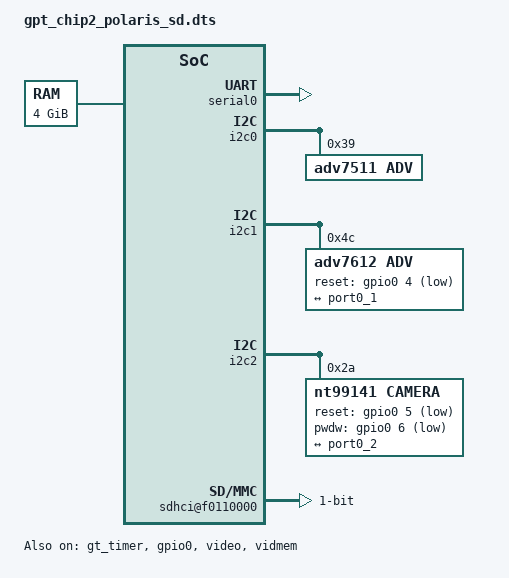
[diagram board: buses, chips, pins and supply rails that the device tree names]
/*
 * dts file for GPT Chip2
 *
 * Copyright (C) 2018, General Processor Techologies Inc.
 *
 * This program is free software; you can redistribute it and/or
 * modify it under the terms of the GNU General Public License as
 * published by the Free Software Foundation; either version 2 of
 * the License, or (at your option) any later version.
 */
 
/dts-v1/;
#include <dt-bindings/interrupt-controller/irq.h>
/include/ "gpt_chip2.dtsi"
#include <dt-bindings/clock/gpt,chip2polaris-clock.h>

/ {
	compatible = "gpt,polaris","gpt,polaris";
	#address-cells = <2>;
	#size-cells = <2>;
	interrupt-parent = <&pic>;

	chosen {
//		bootargs = "earlycon=pl011,mmio,0xF0010000 console=ttyAMA0,115200n8 init=/linuxrc";
		bootargs = "earlycon=pl011,mmio,0xF0010000 root=/dev/mmcblk0p1 rw console=ttyAMA0,115200n8 init=/linuxrc rootwait";
//		bootargs = "root=/dev/mmcblk0p3  rw console=ttyAMA0,115200n8 init=/linuxrc rootwait";
//		bootargs = "console=ttyAMA0,115200n8 init=/linuxrc";
	};

	memory@0 {
		device_type = "memory";
	    	reg = <0x2 0x00000000 0x1 0x00000000>;
	};

        reserved-memory {
                #address-cells = <2>;
                #size-cells = <2>;
                ranges;

                smpboot@200000000 {
                        reg = <0x2 0x00000000 0 0x8000>;
                        no-map;
                };
                debugport@200008000 {
                        reg = <0x2 0x00008000 0 0x8000>;
                        no-map;
                };
		cma {
				compatible = "shared-dma-pool";
				reusable;
				reg = <2 0x20000000 0 0x2000000>;
				linux,cma-default;
			};
		};

	serial0: serial@F0010000 {
		compatible = "gpt,pl011";
		interrupt-parent = <&mpic>;
		interrupts = <0 0 16>;
		reg = <0 0xf0010000 0 0x1000>;
		clocks = <&sysctrl GPT_CHIP2POLARIS_APB_DIV>;
		status = "ok";
	};
	
	gt_timer {
		compatible = "gpt,gpt-global-timer";
		interrupt-parent = <&mpic>;
		interrupts = <0 0 32>;
		reg = <0 0xf0016000 0 0x100>;
		clocks = <&sysctrl GPT_CHIP2POLARIS_APB_DIV>;
		status = "ok";
	};

	gpio0:gpio@F0008000 {
	           compatible = "gpt-gpio-0.0";
	           interrupts = <0 0 0>,<0 0 1>,<0 0 2>,
			     <0 0 3>,<0 0 4>,<0 0 5>,
			     <0 0 6>,<0 0 7>;
	           gpio-controller;
	           #gpio-cells = <2>;
	           reg = <0 0xf0008000 0 0x4000>;
		   clocks = <&sysctrl GPT_CHIP2POLARIS_APB_DIV>;
	           gpt,ngpio = <0x20>;
	           gpt,base = <0x1>;
	           interrupt-parent = <&mpic>;
	           interrupt-controller;
	           #interrupt-cells = <2>; 
	           status ="ok";
       };

	video: video@00000000f0105000 {
		compatible = "gpt-vdo,gpt";
		reg = <0 0xf0105000 0 0x1000>;
		status = "ok";
	};

	i2c0:i2c@F001c000 {
		compatible = "gpt,i2c0.0";
		interrupts = <0 0 44>;
		#address-cells=<1>;
		#size-cells = <0>;
		reg = <0 0xf001c000 0 0x1000>;
		clocks = <&sysctrl GPT_CHIP2POLARIS_APB_DIV>;
		interrupt-parent = <&mpic>;
		status ="ok";
		adv7511@39 {
			compatible = "adv7511,adv";
			reg = <0x39>;
			edid = <0x7e>;
			cec = <0x78>;
			status = "ok";
		};
	};

	i2c1:i2c@F001d000 {
		compatible = "gpt,i2c0.1";
		interrupts = <0 0 45>;
		#address-cells=<1>;
		#size-cells = <0>;
		reg = <0 0xf001d000 0 0x1000>;
		clocks = <&sysctrl GPT_CHIP2POLARIS_APB_DIV>;
		interrupt-parent = <&mpic>;
		status ="ok";

		adv7612@0x4c {
			compatible = "adv7612,adv";
			reg = <0x4C>;
			/*for fpga*/
			/*reset-gpios=<&gpio0 1 1>;*/
			/*for gp8300soc*/
			reset-gpios=<&gpio0 4 1>;
			default-input = <0>;

			port@0{
				adv7612:endpoint{
					res =<0x4c>;
					remote-endpoint = <&port0_1>;
					};
			};
		};
	  };

	  i2c2:i2c@F001e000 {
	         compatible = "gpt,i2c0.2";
		 interrupts = <0 0 46>;
		 #address-cells=<1>;
		 #size-cells = <0>;
		 clocks = <&sysctrl GPT_CHIP2POLARIS_APB_DIV>;
		 reg = <0 0xf001e000 0 0x1000>;
	   	 interrupt-parent = <&mpic>;
		 status ="ok";

		nt99141@0x2a {
			compatible = "nt99141,camera";
			/* for fpga*/
			/*reset-gpios = <&gpio0 2 1>;
                        pwdw-gpios = <&gpio0 3 1>;*/
			/*for gp8300soc*/
			reset-gpios = <&gpio0 5 1>;
                        pwdw-gpios = <&gpio0 6 1>;
			res =<0x12>;
			reg = <0x2a>;

			port@0{
				nt99141:endpoint{
					res =<0x44>;
					remote-endpoint = <&port0_2>;
					};
			};
		};
	};
	gpt_vcap@0 {
		compatible = "";
		name = "gpt_vcap";
		card_name = "Polaris Vcap";
		#address-cells=<1>;
		#size-cells = <0>;
		reg = <0 0xf0102000 0 0x1000 0 0xf0103000 0 0x1000 0 0xf0104000 0 0x1000>;
		interrupt-parent = <&mpic>;
		interrupts = <0 0 52>,< 0 0 53>,<0 0 48 >;
		status ="ok";
		port@0{/*vcap0*/
			port0_1:adv7612@0{
				remote-endpoint = <&adv7612>;
				};
			port0_2:nt99141@1{
				remote-endpoint = <&nt99141>;
			};
		};
		/*
		port@1{
			port1_1:endpoint@0{
				remote-endpoint = <&adv7612>;
				};
			port1_2:endpoint@1{
				remote-endpoint = <&nt99141>;
			};
		};
		port@2{
			port2_1:endpoint@0{
				remote-endpoint = <&adv7612>;
				};
			port2_2:endpoint@1{
				remote-endpoint = <&nt99141>;
			};
		};
		*/
	};

	vidmem:vidmem@00000000c0000000 {
		compatible = "gpt-vidmem,gpt";
		reg = <0 0xc0000000 0 0x80000>;
		status = "ok";
	};
	sdhci@f0110000 {
		compatible = "gpt,arasan";
		reg = <0 0xf0110000 0 0x10000>;
		clock-names = "gptsd";
		clocks = <&sysctrl GPT_CHIP2POLARIS_SD_DIV>;
		interrupt-parent = <&mpic>;
		interrupts = <0 0 61>;
		bus-width = <1>;
		max-frequency = <163000000>;
	/*sdhci,auto-cmd12;*/
	};
	gpt_pinctrl@f0000200 {
		compatible = "";
		name = "gpt_pinctrl";
		reg = <0 0xf0000200 0 0x4>;
		status ="ok";
	};
};
